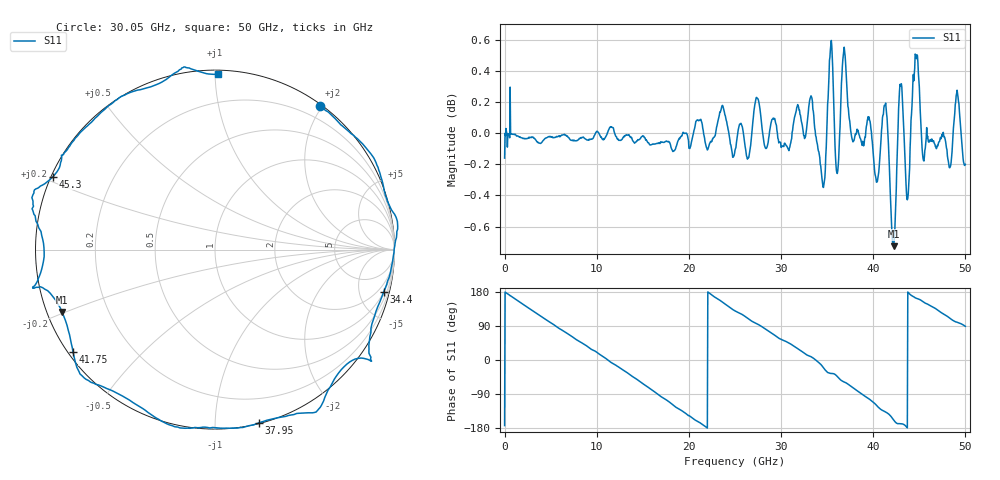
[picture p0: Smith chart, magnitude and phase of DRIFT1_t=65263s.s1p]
!Created with skrf (http://scikit-rf.org).
# Hz S RI R 50.0
!freq ReS11 ImS11
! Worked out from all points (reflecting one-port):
!   1001 points, 300 kHz to 50 GHz, reference 50 ohm
!   lowest |S11| = -0.7 dB at 42.2 GHz (marker M1), VSWR 23.94, Z = 2.17 - j9.77 ohm
!   phase of S11 starts at -173 deg and turns -818 deg over the sweep
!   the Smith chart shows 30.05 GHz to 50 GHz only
!   S11 on the Smith chart (normalised r, x): 30.05 GHz: 0.02, +1.97; 34.4 GHz: 1.04, -7.95; 37.95 GHz: 0.01, -1.29; 41.75 GHz: 0.01, -0.32; 45.3 GHz: 0.01, +0.21; 50 GHz: 0.02, +1.02
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300000  -0.9746 -0.119
1.450291e9  -0.9125 0.4041
3.25028e9  -0.593 0.8003
6.250262e9  0.1991 0.9787
9.500243e9  0.8884 0.4499
1.250022e10  0.9308 -0.3512
1.580021e10  0.2419 -0.9614
1.73502e10  -0.2106 -0.971
1.875019e10  -0.5985 -0.7926
2.160017e10  -0.9903 -0.1348
2.345016e10  -0.9294 0.4123
2.500015e10  -0.6292 0.761
2.745014e10  -0.0839 1.023
3.005012e10  0.5857 0.7981
3.125011e10  0.782 0.6268
3.31501e10  1.012 0.1728
3.440009e10  0.9395 -0.2361
3.520009e10  0.8624 -0.5872
3.750008e10  0.3774 -0.9319
3.795007e10  0.2461 -0.9648
3.965006e10  -0.2538 -0.9766
4.175005e10  -0.7914 -0.5702
4.220005e10  -0.8519 -0.3467
4.290004e10  -1.015 -0.2133
4.375004e10  -0.953 0.0106
4.530003e10  -0.9018 0.4066
4.765001e10  -0.5107 0.8577
5e10  0.0191 0.9771
